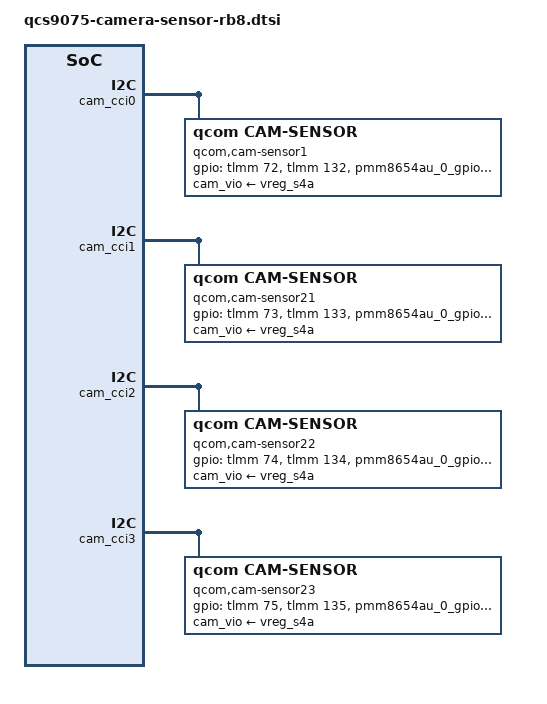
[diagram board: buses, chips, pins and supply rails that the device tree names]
// SPDX-License-Identifier: BSD-3-Clause
/*
 * Copyright (c) 2024 Qualcomm Innovation Center, Inc. All rights reserved.
 */
#include <dt-bindings/msm-camera.h>

&soc {
	qcom,cam-res-mgr {
		compatible = "qcom,cam-res-mgr";
		status = "ok";
	};
};

&cam_cci0 {

	/*cam0a-ov9282*/
	qcom,cam-sensor1 {
		cell-index = <20>;
		compatible = "qcom,cam-sensor";
		csiphy-sd-index = <0>;
		sensor-position-roll = <0>;
		sensor-position-pitch = <0>;
		sensor-position-yaw = <180>;
		cam_vio-supply = <&vreg_s4a>;
		regulator-names = "cam_vio";
		power-domains = <&camcc CAM_CC_TITAN_TOP_GDSC>;
		rgltr-cntrl-support;
		pwm-switch;
		rgltr-min-voltage = <1800000>;
		rgltr-max-voltage = <1800000>;
		rgltr-load-current = <120000>;
		gpio-no-mux = <0>;
		pinctrl-names = "cam_default", "cam_suspend";
		pinctrl-0 = <&cam_sensor_mclk0_active
		                &cam_sensor_active_rst0>;
		pinctrl-1 = <&cam_sensor_mclk0_suspend
		                &cam_sensor_suspend_rst0>;
		gpios = <&tlmm 72 0>,
			<&tlmm 132 0>,
			<&pmm8654au_0_gpios 7 0>;
		gpio-reset = <1>;
		gpio-custom1 = <2>;
		gpio-req-tbl-num = <0 1 2>;
		gpio-req-tbl-flags   	 = <1 0 0>;
		gpio-req-tbl-label = "CAM_MCLK0",
		                       "CAMIF_RESET0",
		                         "CAM_CUSTOM1";
		cci-master = <0>;
		clocks = <&camcc CAM_CC_MCLK0_CLK>;
		clock-names = "cam_clk";
		clock-cntl-level = "nominal";
		clock-rates = <24000000>;
		status = "ok";
	};

};

&cam_cci1 {

	/*cam1-ov9282*/
	qcom,cam-sensor21 {
		cell-index = <21>;
		compatible = "qcom,cam-sensor";
		csiphy-sd-index = <1>;
		sensor-position-roll = <0>;
		sensor-position-pitch = <0>;
		sensor-position-yaw = <180>;
		cam_vio-supply = <&vreg_s4a>;
		regulator-names = "cam_vio";
		power-domains = <&camcc CAM_CC_TITAN_TOP_GDSC>;
		rgltr-cntrl-support;
		pwm-switch;
		rgltr-min-voltage = <1800000>;
		rgltr-max-voltage = <1800000>;
		rgltr-load-current = <120000>;
		gpio-no-mux = <0>;
		pinctrl-names = "cam_default", "cam_suspend";
		pinctrl-0 = <&cam_sensor_mclk1_active
		                &cam_sensor_active_rst1>;
		pinctrl-1 = <&cam_sensor_mclk1_suspend
		                &cam_sensor_suspend_rst1>;
		gpios = <&tlmm 73 0>,
			<&tlmm 133 0>,
			<&pmm8654au_0_gpios 8 0>;
		gpio-reset = <1>;
		gpio-custom1 = <2>;
		gpio-req-tbl-num = <0 1 2>;
		gpio-req-tbl-flags   	 = <1 0 0>;
		gpio-req-tbl-label = "CAM_MCLK1",
		                       "CAMIF_RESET1",
		                         "CAM_CUSTOM1";
		cci-master = <0>;
		clocks = <&camcc CAM_CC_MCLK1_CLK>;
		clock-names = "cam_clk";
		clock-cntl-level = "nominal";
		clock-rates = <24000000>;
		status = "ok";
	};

};

&cam_cci2 {

	/*cam2-ov9282*/
	qcom,cam-sensor22 {
		cell-index = <22>;
		compatible = "qcom,cam-sensor";
		csiphy-sd-index = <2>;
		sensor-position-roll = <0>;
		sensor-position-pitch = <0>;
		sensor-position-yaw = <180>;
		cam_vio-supply = <&vreg_s4a>;
		regulator-names = "cam_vio";
		power-domains = <&camcc CAM_CC_TITAN_TOP_GDSC>;
		rgltr-cntrl-support;
		pwm-switch;
		rgltr-min-voltage = <1800000>;
		rgltr-max-voltage = <1800000>;
		rgltr-load-current = <120000>;
		gpio-no-mux = <0>;
		pinctrl-names = "cam_default", "cam_suspend";
		pinctrl-0 = <&cam_sensor_mclk2_active
		                &cam_sensor_active_rst2>;
		pinctrl-1 = <&cam_sensor_mclk2_suspend
		                &cam_sensor_suspend_rst2>;
		gpios = <&tlmm 74 0>,
			<&tlmm 134 0>,
			<&pmm8654au_0_gpios 9 0>;
		gpio-reset = <1>;
		gpio-custom1 = <2>;
		gpio-req-tbl-num = <0 1 2>;
		gpio-req-tbl-flags   	 = <1 0 0>;
		gpio-req-tbl-label = "CAM_MCLK2",
		                       "CAMIF_RESET2",
		                         "CAM_CUSTOM1";
		cci-master = <0>;
		clocks = <&camcc CAM_CC_MCLK2_CLK>;
		clock-names = "cam_clk";
		clock-cntl-level = "nominal";
		clock-rates = <24000000>;
		status = "ok";
	};

};

&cam_cci3 {

	/*cam3-ov9282*/
	qcom,cam-sensor23 {
		cell-index = <23>;
		compatible = "qcom,cam-sensor";
		csiphy-sd-index = <3>;
		sensor-position-roll = <0>;
		sensor-position-pitch = <0>;
		sensor-position-yaw = <180>;
		cam_vio-supply = <&vreg_s4a>;
		regulator-names = "cam_vio";
		power-domains = <&camcc CAM_CC_TITAN_TOP_GDSC>;
		rgltr-cntrl-support;
		pwm-switch;
		rgltr-min-voltage = <1800000>;
		rgltr-max-voltage = <1800000>;
		rgltr-load-current = <120000>;
		gpio-no-mux = <0>;
		pinctrl-names = "cam_default", "cam_suspend";
		pinctrl-0 = <&cam_sensor_mclk3_active
		                &cam_sensor_active_rst3>;
		pinctrl-1 = <&cam_sensor_mclk3_suspend
		                &cam_sensor_suspend_rst3>;
		gpios = <&tlmm 75 0>,
			<&tlmm 135 0>,
			<&pmm8654au_0_gpios 10 0>;
		gpio-reset = <1>;
		gpio-custom1 = <2>;
		gpio-req-tbl-num = <0 1 2>;
		gpio-req-tbl-flags   	 = <1 0 0>;
		gpio-req-tbl-label = "CAM_MCLK3",
		                       "CAMIF_RESET3",
		                         "CAM_CUSTOM1";
		cci-master = <0>;
		clocks = <&camcc CAM_CC_MCLK3_CLK>;
		clock-names = "cam_clk";
		clock-cntl-level = "nominal";
		clock-rates = <24000000>;
		status = "ok";
	};

};

